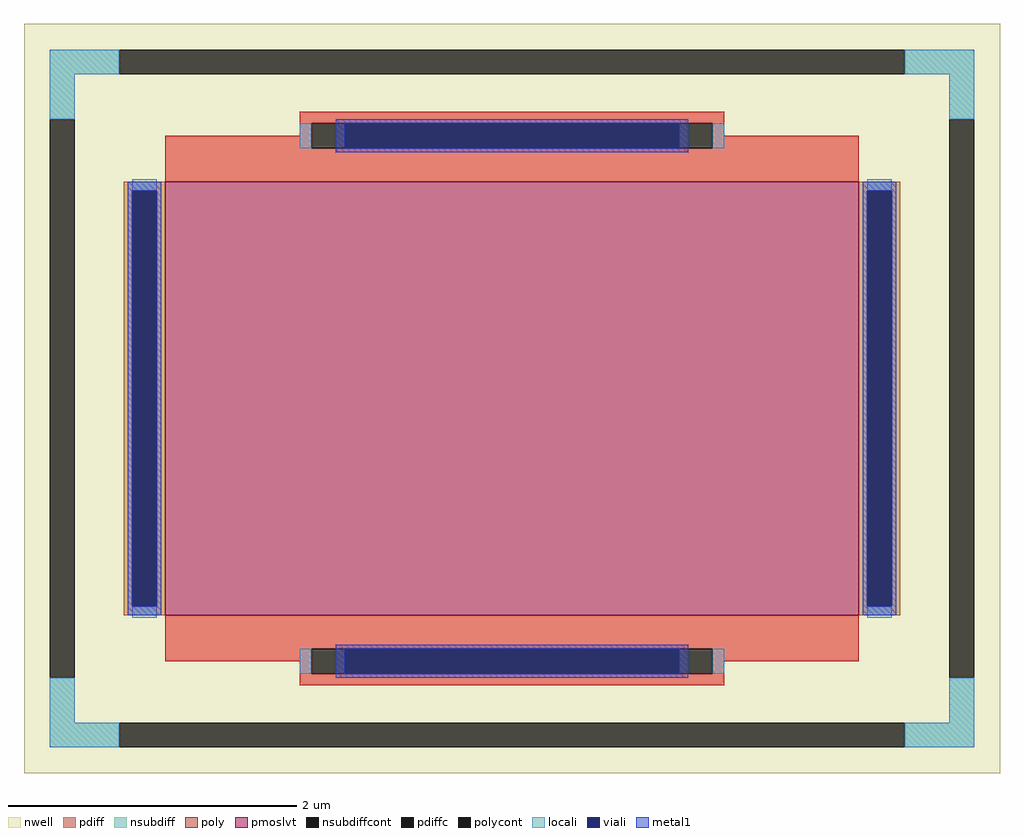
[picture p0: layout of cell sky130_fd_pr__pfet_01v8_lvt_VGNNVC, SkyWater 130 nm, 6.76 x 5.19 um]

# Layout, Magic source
magic
tech sky130A
magscale 1 2
<< nwell >>
rect -676 -519 676 519
<< pmoslvt >>
rect -480 -300 480 300
<< pdiff >>
rect -538 288 -480 300
rect -538 -288 -526 288
rect -492 -288 -480 288
rect -538 -300 -480 -288
rect 480 288 538 300
rect 480 -288 492 288
rect 526 -288 538 288
rect 480 -300 538 -288
<< pdiffc >>
rect -526 -288 -492 288
rect 492 -288 526 288
<< nsubdiff >>
rect -640 449 -544 483
rect 544 449 640 483
rect -640 387 -606 449
rect 606 387 640 449
rect -640 -449 -606 -387
rect 606 -449 640 -387
rect -640 -483 -544 -449
rect 544 -483 640 -449
<< nsubdiffcont >>
rect -544 449 544 483
rect -640 -387 -606 387
rect 606 -387 640 387
rect -544 -483 544 -449
<< poly >>
rect -294 381 294 397
rect -294 364 -278 381
rect -480 347 -278 364
rect 278 364 294 381
rect 278 347 480 364
rect -480 300 480 347
rect -480 -347 480 -300
rect -480 -364 -278 -347
rect -294 -381 -278 -364
rect 278 -364 480 -347
rect 278 -381 294 -364
rect -294 -397 294 -381
<< polycont >>
rect -278 347 278 381
rect -278 -381 278 -347
<< locali >>
rect -640 449 -544 483
rect 544 449 640 483
rect -640 387 -606 449
rect 606 387 640 449
rect -294 347 -278 381
rect 278 347 294 381
rect -526 288 -492 304
rect -526 -304 -492 -288
rect 492 288 526 304
rect 492 -304 526 -288
rect -294 -381 -278 -347
rect 278 -381 294 -347
rect -640 -449 -606 -387
rect 606 -449 640 -387
rect -640 -483 -544 -449
rect 544 -483 640 -449
<< viali >>
rect -232 347 232 381
rect -526 -288 -492 288
rect 492 -288 526 288
rect -232 -381 232 -347
<< metal1 >>
rect -244 381 244 387
rect -244 347 -232 381
rect 232 347 244 381
rect -244 341 244 347
rect -532 288 -486 300
rect -532 -288 -526 288
rect -492 -288 -486 288
rect -532 -300 -486 -288
rect 486 288 532 300
rect 486 -288 492 288
rect 526 -288 532 288
rect 486 -300 532 -288
rect -244 -347 244 -341
rect -244 -381 -232 -347
rect 232 -381 244 -347
rect -244 -387 244 -381
<< properties >>
string gencell sky130_fd_pr__pfet_01v8_lvt
string FIXED_BBOX -623 -466 623 466
string parameters w 3 l 4.8 m 1 nf 1 diffcov 100 polycov 60 guard 1 glc 1 grc 1 gtc 1 gbc 1 tbcov 100 rlcov 100 topc 1 botc 1 poverlap 0 doverlap 1 lmin 0.35 wmin 0.42 compatible {sky130_fd_pr__pfet_01v8  sky130_fd_pr__pfet_01v8_lvt sky130_fd_pr__pfet_01v8_hvt  sky130_fd_pr__pfet_g5v0d10v5} full_metal 1 viasrc 100 viadrn 100 viagate 50 viagb 0 viagr 0 viagl 0 viagt 0
string library sky130
<< end >>
